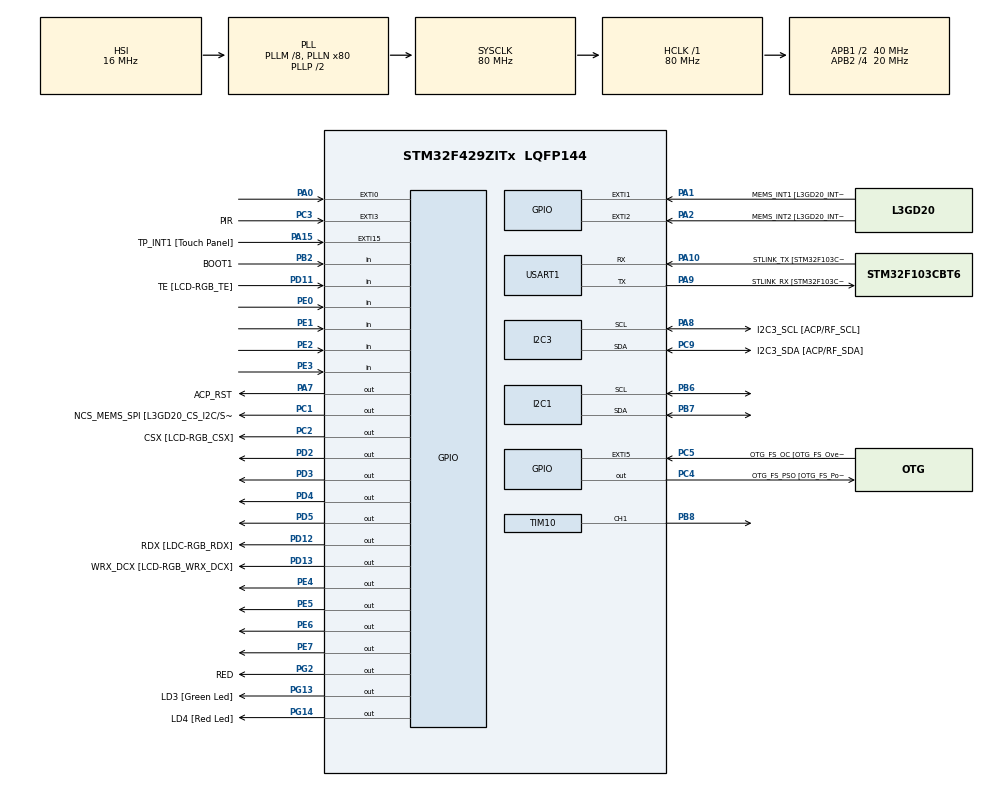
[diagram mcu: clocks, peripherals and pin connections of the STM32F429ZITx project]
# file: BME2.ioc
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Dma.I2C3_RX.0.Direction=DMA_PERIPH_TO_MEMORY
Dma.I2C3_RX.0.FIFOMode=DMA_FIFOMODE_DISABLE
Dma.I2C3_RX.0.Instance=DMA1_Stream2
Dma.I2C3_RX.0.MemDataAlignment=DMA_MDATAALIGN_BYTE
Dma.I2C3_RX.0.MemInc=DMA_MINC_ENABLE
Dma.I2C3_RX.0.Mode=DMA_NORMAL
Dma.I2C3_RX.0.PeriphDataAlignment=DMA_PDATAALIGN_BYTE
Dma.I2C3_RX.0.PeriphInc=DMA_PINC_DISABLE
Dma.I2C3_RX.0.Priority=DMA_PRIORITY_LOW
Dma.I2C3_TX.1.Direction=DMA_MEMORY_TO_PERIPH
Dma.I2C3_TX.1.FIFOMode=DMA_FIFOMODE_DISABLE
Dma.I2C3_TX.1.Instance=DMA1_Stream4
Dma.I2C3_TX.1.MemDataAlignment=DMA_MDATAALIGN_BYTE
Dma.I2C3_TX.1.MemInc=DMA_MINC_ENABLE
Dma.I2C3_TX.1.Mode=DMA_NORMAL
Dma.I2C3_TX.1.PeriphDataAlignment=DMA_PDATAALIGN_BYTE
Dma.I2C3_TX.1.PeriphInc=DMA_PINC_DISABLE
Dma.I2C3_TX.1.Priority=DMA_PRIORITY_LOW
Dma.Request0=I2C3_RX
Dma.Request1=I2C3_TX
Mcu.Family=STM32F4
Mcu.Name=STM32F429ZITx
Mcu.Package=LQFP144
NVIC.DMA1_Stream2_IRQn=true\:0\:0\:false\:false\:true\:false\:true
NVIC.DMA1_Stream4_IRQn=true\:0\:0\:false\:false\:true\:false\:true
NVIC.EXTI0_IRQn=true\:0\:0\:false\:false\:true\:true\:true
NVIC.EXTI3_IRQn=true\:0\:0\:false\:false\:true\:true\:true
NVIC.I2C1_EV_IRQn=true\:0\:0\:false\:false\:true\:true\:true
NVIC.I2C3_EV_IRQn=true\:0\:0\:false\:false\:true\:true\:true
NVIC.PriorityGroup=NVIC_PRIORITYGROUP_0
NVIC.TIM1_TRG_COM_TIM11_IRQn=true\:0\:0\:false\:false\:true\:true\:true
NVIC.TIM1_UP_TIM10_IRQn=true\:0\:0\:false\:false\:true\:true\:true
NVIC.TIM7_IRQn=true\:0\:0\:false\:false\:true\:true\:true
NVIC.USART1_IRQn=true\:0\:0\:false\:false\:true\:true\:true
PA0/WKUP.Signal=GPXTI0
PA1.GPIO_Label=MEMS_INT1 [L3GD20_INT1]
PA1.GPIO_ModeDefaultEXTI=GPIO_MODE_EVT_RISING
PA1.GPIO_PuPd=GPIO_NOPULL
PA1.Signal=GPXTI1
PA10.GPIO_Label=STLINK_TX [STM32F103CBT6_PA2]
PA10.Mode=Asynchronous
PA10.Signal=USART1_RX
PA11.GPIO_Label=R4
PA11.GPIO_Mode=GPIO_MODE_AF_PP
PA11.GPIO_PuPd=GPIO_NOPULL
PA11.GPIO_Speed=GPIO_SPEED_FREQ_LOW
PA11.Signal=LTDC_R4
PA12.GPIO_Label=R5
PA12.GPIO_Mode=GPIO_MODE_AF_PP
PA12.GPIO_PuPd=GPIO_NOPULL
PA12.GPIO_Speed=GPIO_SPEED_FREQ_LOW
PA12.Signal=LTDC_R5
PA13.GPIO_Label=SWDIO
PA13.Signal=SYS_JTMS-SWDIO
PA14.GPIO_Label=SWCLK
PA14.Signal=SYS_JTCK-SWCLK
PA15.GPIO_Label=TP_INT1 [Touch Panel]
PA15.GPIO_ModeDefaultEXTI=GPIO_MODE_EVT_RISING
PA15.GPIO_PuPd=GPIO_NOPULL
PA15.Signal=GPXTI15
PA2.GPIO_Label=MEMS_INT2 [L3GD20_INT2]
PA2.GPIO_ModeDefaultEXTI=GPIO_MODE_EVT_RISING
PA2.GPIO_PuPd=GPIO_NOPULL
PA2.Signal=GPXTI2
PA3.GPIO_Label=B5
PA3.GPIO_Mode=GPIO_MODE_AF_PP
PA3.GPIO_PuPd=GPIO_NOPULL
PA3.GPIO_Speed=GPIO_SPEED_FREQ_LOW
PA3.Signal=LTDC_B5
PA4.GPIO_Label=VSYNC
PA4.GPIO_Mode=GPIO_MODE_AF_PP
PA4.GPIO_PuPd=GPIO_NOPULL
PA4.GPIO_Speed=GPIO_SPEED_FREQ_LOW
PA4.Signal=LTDC_VSYNC
PA6.GPIO_Label=G2
PA6.GPIO_Mode=GPIO_MODE_AF_PP
PA6.GPIO_PuPd=GPIO_NOPULL
PA6.GPIO_Speed=GPIO_SPEED_FREQ_LOW
PA6.Signal=LTDC_G2
PA7.GPIO_Label=ACP_RST
PA7.GPIO_Mode=GPIO_MODE_OUTPUT_PP
PA7.GPIO_PuPd=GPIO_NOPULL
PA7.GPIO_Speed=GPIO_SPEED_FREQ_LOW
PA7.Signal=GPIO_Output
PA8.GPIO_Label=I2C3_SCL [ACP/RF_SCL]
PA8.GPIO_Mode=GPIO_MODE_AF_OD
PA8.GPIO_PuPd=GPIO_NOPULL
PA8.GPIO_PuPdOD=GPIO_NOPULL
PA8.GPIO_Speed=GPIO_SPEED_FREQ_LOW
PA8.Mode=I2C
PA8.Signal=I2C3_SCL
PA9.GPIO_Label=STLINK_RX [STM32F103CBT6_PA3]
PA9.Mode=Asynchronous
PA9.Signal=USART1_TX
PB0.GPIO_Label=R3
PB0.GPIO_Mode=GPIO_MODE_AF_PP
PB0.GPIO_PuPd=GPIO_NOPULL
PB0.GPIO_Speed=GPIO_SPEED_FREQ_LOW
PB0.Signal=LTDC_R3
PB1.GPIO_Label=R6
PB1.GPIO_Mode=GPIO_MODE_AF_PP
PB1.GPIO_PuPd=GPIO_NOPULL
PB1.GPIO_Speed=GPIO_SPEED_FREQ_LOW
PB1.Signal=LTDC_R6
PB10.GPIO_Label=G4
PB10.GPIO_Mode=GPIO_MODE_AF_PP
PB10.GPIO_PuPd=GPIO_NOPULL
PB10.GPIO_Speed=GPIO_SPEED_FREQ_LOW
PB10.Signal=LTDC_G4
PB11.GPIO_Label=G5
PB11.GPIO_Mode=GPIO_MODE_AF_PP
PB11.GPIO_PuPd=GPIO_NOPULL
PB11.GPIO_Speed=GPIO_SPEED_FREQ_LOW
PB11.Signal=LTDC_G5
PB12.GPIO_Label=OTG_HS_ID
PB12.GPIO_Mode=GPIO_MODE_AF_PP
PB12.GPIO_PuPd=GPIO_NOPULL
PB12.GPIO_Speed=GPIO_SPEED_FREQ_LOW
PB12.Signal=USB_OTG_HS_ID
PB13.GPIO_Label=VBUS_HS
PB13.GPIO_Mode=GPIO_MODE_INPUT
PB13.GPIO_PuPd=GPIO_NOPULL
PB13.Signal=USB_OTG_HS_VBUS
PB14.GPIO_Label=OTG_HS_DM
PB14.GPIO_Mode=GPIO_MODE_AF_PP
PB14.GPIO_PuPd=GPIO_NOPULL
PB14.GPIO_Speed=GPIO_SPEED_FREQ_LOW
PB14.Signal=USB_OTG_HS_DM
PB15.GPIO_Label=OTG_HS_DP
PB15.GPIO_Mode=GPIO_MODE_AF_PP
PB15.GPIO_PuPd=GPIO_NOPULL
PB15.GPIO_Speed=GPIO_SPEED_FREQ_LOW
PB15.Signal=USB_OTG_HS_DP
PB2/BOOT1.GPIO_Label=BOOT1
PB2/BOOT1.GPIO_Mode=GPIO_MODE_INPUT
PB2/BOOT1.GPIO_PuPd=GPIO_NOPULL
PB2/BOOT1.Signal=GPIO_Input
PB5.GPIO_Label=SDCKE1
PB5.GPIO_Mode=GPIO_MODE_AF_PP
PB5.GPIO_PuPd=GPIO_NOPULL
PB5.GPIO_Speed=GPIO_SPEED_FREQ_VERY_HIGH
PB5.Signal=FMC_SDCKE1
PB6.GPIO_PuPdOD=GPIO_NOPULL
PB6.Mode=I2C
PB6.Signal=I2C1_SCL
PB7.GPIO_PuPdOD=GPIO_NOPULL
PB7.Mode=I2C
PB7.Signal=I2C1_SDA
PB8.GPIO_Speed=GPIO_SPEED_FREQ_LOW
PB8.Signal=S_TIM10_CH1
PC0.GPIO_Label=SDNWE
PC0.GPIO_Mode=GPIO_MODE_AF_PP
PC0.GPIO_PuPd=GPIO_NOPULL
PC0.GPIO_Speed=GPIO_SPEED_FREQ_VERY_HIGH
PC0.Signal=FMC_SDNWE
PC1.GPIO_Label=NCS_MEMS_SPI [L3GD20_CS_I2C/SPI]
PC1.GPIO_Mode=GPIO_MODE_OUTPUT_PP
PC1.GPIO_PuPd=GPIO_NOPULL
PC1.GPIO_Speed=GPIO_SPEED_FREQ_LOW
PC1.Signal=GPIO_Output
PC10.GPIO_Label=R2
PC10.GPIO_Mode=GPIO_MODE_AF_PP
PC10.GPIO_PuPd=GPIO_NOPULL
PC10.GPIO_Speed=GPIO_SPEED_FREQ_LOW
PC10.Signal=LTDC_R2
PC14/OSC32_IN.GPIO_Label=PC14-OSC32_IN
PC14/OSC32_IN.Signal=RCC_OSC32_IN
PC15/OSC32_OUT.GPIO_Label=PC15-OSC32_OUT
PC15/OSC32_OUT.Signal=RCC_OSC32_OUT
PC2.GPIO_Label=CSX [LCD-RGB_CSX]
PC2.GPIO_Mode=GPIO_MODE_OUTPUT_PP
PC2.GPIO_PuPd=GPIO_NOPULL
PC2.GPIO_Speed=GPIO_SPEED_FREQ_LOW
PC2.Signal=GPIO_Output
PC3.GPIO_Label=PIR
PC3.GPIO_ModeDefaultEXTI=GPIO_MODE_IT_RISING_FALLING
PC3.Signal=GPXTI3
PC4.GPIO_Label=OTG_FS_PSO [OTG_FS_PowerSwitchOn]
PC4.GPIO_Mode=GPIO_MODE_OUTPUT_PP
PC4.GPIO_PuPd=GPIO_NOPULL
PC4.GPIO_Speed=GPIO_SPEED_FREQ_LOW
PC4.Signal=GPIO_Output
PC5.GPIO_Label=OTG_FS_OC [OTG_FS_OverCurrent]
PC5.GPIO_ModeDefaultEXTI=GPIO_MODE_EVT_RISING
PC5.Signal=GPXTI5
PC6.GPIO_Label=HSYNC
PC6.GPIO_Mode=GPIO_MODE_AF_PP
PC6.GPIO_PuPd=GPIO_NOPULL
PC6.GPIO_Speed=GPIO_SPEED_FREQ_LOW
PC6.Signal=LTDC_HSYNC
PC7.GPIO_Label=G6
PC7.GPIO_Mode=GPIO_MODE_AF_PP
PC7.GPIO_PuPd=GPIO_NOPULL
PC7.GPIO_Speed=GPIO_SPEED_FREQ_LOW
PC7.Signal=LTDC_G6
PC9.GPIO_Label=I2C3_SDA [ACP/RF_SDA]
PC9.GPIO_Mode=GPIO_MODE_AF_OD
PC9.GPIO_PuPd=GPIO_NOPULL
PC9.GPIO_PuPdOD=GPIO_NOPULL
PC9.GPIO_Speed=GPIO_SPEED_FREQ_LOW
PC9.Mode=I2C
PC9.Signal=I2C3_SDA
PD0.GPIO_Label=D2
PD0.GPIO_Mode=GPIO_MODE_AF_PP
PD0.GPIO_PuPd=GPIO_NOPULL
PD0.GPIO_Speed=GPIO_SPEED_FREQ_VERY_HIGH
PD0.Signal=FMC_D2_DA2
PD1.GPIO_Label=D3
PD1.GPIO_Mode=GPIO_MODE_AF_PP
PD1.GPIO_PuPd=GPIO_NOPULL
PD1.GPIO_Speed=GPIO_SPEED_FREQ_VERY_HIGH
PD1.Signal=FMC_D3_DA3
PD10.GPIO_Label=D15
PD10.GPIO_Mode=GPIO_MODE_AF_PP
PD10.GPIO_PuPd=GPIO_NOPULL
PD10.GPIO_Speed=GPIO_SPEED_FREQ_VERY_HIGH
PD10.Signal=FMC_D15_DA15
PD11.GPIO_Label=TE [LCD-RGB_TE]
PD11.GPIO_Mode=GPIO_MODE_INPUT
PD11.GPIO_PuPd=GPIO_NOPULL
PD11.Signal=GPIO_Input
PD12.GPIO_Label=RDX [LDC-RGB_RDX]
PD12.GPIO_Mode=GPIO_MODE_OUTPUT_PP
PD12.GPIO_PuPd=GPIO_NOPULL
PD12.GPIO_Speed=GPIO_SPEED_FREQ_LOW
PD12.Signal=GPIO_Output
PD13.GPIO_Label=WRX_DCX [LCD-RGB_WRX_DCX]
PD13.GPIO_Mode=GPIO_MODE_OUTPUT_PP
PD13.GPIO_PuPd=GPIO_NOPULL
PD13.GPIO_Speed=GPIO_SPEED_FREQ_LOW
PD13.Signal=GPIO_Output
PD14.GPIO_Label=D0
PD14.GPIO_Mode=GPIO_MODE_AF_PP
PD14.GPIO_PuPd=GPIO_NOPULL
PD14.GPIO_Speed=GPIO_SPEED_FREQ_VERY_HIGH
PD14.Signal=FMC_D0_DA0
PD15.GPIO_Label=D1
PD15.GPIO_Mode=GPIO_MODE_AF_PP
PD15.GPIO_PuPd=GPIO_NOPULL
PD15.GPIO_Speed=GPIO_SPEED_FREQ_VERY_HIGH
PD15.Signal=FMC_D1_DA1
PD2.Signal=GPIO_Output
PD3.Signal=GPIO_Output
PD4.Signal=GPIO_Output
PD5.Signal=GPIO_Output
PD6.Signal=USART2_RX
PD8.GPIO_Label=D13
PD8.GPIO_Mode=GPIO_MODE_AF_PP
PD8.GPIO_PuPd=GPIO_NOPULL
PD8.GPIO_Speed=GPIO_SPEED_FREQ_VERY_HIGH
PD8.Signal=FMC_D13_DA13
PD9.GPIO_Label=D14
PD9.GPIO_Mode=GPIO_MODE_AF_PP
PD9.GPIO_PuPd=GPIO_NOPULL
PD9.GPIO_Speed=GPIO_SPEED_FREQ_VERY_HIGH
PD9.Signal=FMC_D14_DA14
PE0.Signal=GPIO_Input
PE1.Signal=GPIO_Input
PE10.GPIO_Label=D7
PE10.GPIO_Mode=GPIO_MODE_AF_PP
PE10.GPIO_PuPd=GPIO_NOPULL
PE10.GPIO_Speed=GPIO_SPEED_FREQ_VERY_HIGH
PE10.Signal=FMC_D7_DA7
PE11.GPIO_Label=D8
PE11.GPIO_Mode=GPIO_MODE_AF_PP
PE11.GPIO_PuPd=GPIO_NOPULL
PE11.GPIO_Speed=GPIO_SPEED_FREQ_VERY_HIGH
PE11.Signal=FMC_D8_DA8
PE12.GPIO_Label=D9
PE12.GPIO_Mode=GPIO_MODE_AF_PP
PE12.GPIO_PuPd=GPIO_NOPULL
PE12.GPIO_Speed=GPIO_SPEED_FREQ_VERY_HIGH
PE12.Signal=FMC_D9_DA9
PE13.GPIO_Label=D10
PE13.GPIO_Mode=GPIO_MODE_AF_PP
PE13.GPIO_PuPd=GPIO_NOPULL
PE13.GPIO_Speed=GPIO_SPEED_FREQ_VERY_HIGH
PE13.Signal=FMC_D10_DA10
PE14.GPIO_Label=D11
PE14.GPIO_Mode=GPIO_MODE_AF_PP
PE14.GPIO_PuPd=GPIO_NOPULL
PE14.GPIO_Speed=GPIO_SPEED_FREQ_VERY_HIGH
PE14.Signal=FMC_D11_DA11
PE15.GPIO_Label=D12
PE15.GPIO_Mode=GPIO_MODE_AF_PP
PE15.GPIO_PuPd=GPIO_NOPULL
PE15.GPIO_Speed=GPIO_SPEED_FREQ_VERY_HIGH
PE15.Signal=FMC_D12_DA12
PE2.Signal=GPIO_Input
PE3.Signal=GPIO_Input
PE4.Signal=GPIO_Output
PE5.Signal=GPIO_Output
PE6.Signal=GPIO_Output
PE7.Signal=GPIO_Output
PE9.GPIO_Label=D6
PE9.GPIO_Mode=GPIO_MODE_AF_PP
PE9.GPIO_PuPd=GPIO_NOPULL
PE9.GPIO_Speed=GPIO_SPEED_FREQ_VERY_HIGH
PE9.Signal=FMC_D6_DA6
PF0.GPIO_Label=A0
PF0.GPIO_Mode=GPIO_MODE_AF_PP
PF0.GPIO_PuPd=GPIO_NOPULL
PF0.GPIO_Speed=GPIO_SPEED_FREQ_VERY_HIGH
PF0.Signal=FMC_A0
PF1.GPIO_Label=A1
PF1.GPIO_Mode=GPIO_MODE_AF_PP
PF1.GPIO_PuPd=GPIO_NOPULL
PF1.GPIO_Speed=GPIO_SPEED_FREQ_VERY_HIGH
PF1.Signal=FMC_A1
PF10.GPIO_Label=ENABLE [LCD-RGB_ENABLE]
PF10.GPIO_Mode=GPIO_MODE_AF_PP
PF10.GPIO_PuPd=GPIO_NOPULL
PF10.GPIO_Speed=GPIO_SPEED_FREQ_LOW
PF10.Signal=LTDC_DE
PF11.GPIO_Label=SDNRAS
PF11.GPIO_Mode=GPIO_MODE_AF_PP
PF11.GPIO_PuPd=GPIO_NOPULL
PF11.GPIO_Speed=GPIO_SPEED_FREQ_VERY_HIGH
PF11.Signal=FMC_SDNRAS
PF12.GPIO_Label=A6
PF12.GPIO_Mode=GPIO_MODE_AF_PP
PF12.GPIO_PuPd=GPIO_NOPULL
PF12.GPIO_Speed=GPIO_SPEED_FREQ_VERY_HIGH
PF12.Signal=FMC_A6
PF13.GPIO_Label=A7
PF13.GPIO_Mode=GPIO_MODE_AF_PP
PF13.GPIO_PuPd=GPIO_NOPULL
PF13.GPIO_Speed=GPIO_SPEED_FREQ_VERY_HIGH
PF13.Signal=FMC_A7
PF14.GPIO_Label=A8
PF14.GPIO_Mode=GPIO_MODE_AF_PP
PF14.GPIO_PuPd=GPIO_NOPULL
PF14.GPIO_Speed=GPIO_SPEED_FREQ_VERY_HIGH
PF14.Signal=FMC_A8
PF15.GPIO_Label=A9
PF15.GPIO_Mode=GPIO_MODE_AF_PP
PF15.GPIO_PuPd=GPIO_NOPULL
PF15.GPIO_Speed=GPIO_SPEED_FREQ_VERY_HIGH
PF15.Signal=FMC_A9
PF2.GPIO_Label=A2
PF2.GPIO_Mode=GPIO_MODE_AF_PP
PF2.GPIO_PuPd=GPIO_NOPULL
PF2.GPIO_Speed=GPIO_SPEED_FREQ_VERY_HIGH
PF2.Signal=FMC_A2
PF3.GPIO_Label=A3
PF3.GPIO_Mode=GPIO_MODE_AF_PP
PF3.GPIO_PuPd=GPIO_NOPULL
PF3.GPIO_Speed=GPIO_SPEED_FREQ_VERY_HIGH
PF3.Signal=FMC_A3
PF4.GPIO_Label=A4
PF4.GPIO_Mode=GPIO_MODE_AF_PP
PF4.GPIO_PuPd=GPIO_NOPULL
PF4.GPIO_Speed=GPIO_SPEED_FREQ_VERY_HIGH
PF4.Signal=FMC_A4
PF5.GPIO_Label=A5
PF5.GPIO_Mode=GPIO_MODE_AF_PP
PF5.GPIO_PuPd=GPIO_NOPULL
PF5.GPIO_Speed=GPIO_SPEED_FREQ_VERY_HIGH
PF5.Signal=FMC_A5
PF7.GPIO_Label=SPI5_SCK [L3GD20_SCL/SPC]
PF7.GPIO_Mode=GPIO_MODE_AF_PP
PF7.GPIO_PuPd=GPIO_NOPULL
PF7.GPIO_Speed=GPIO_SPEED_FREQ_LOW
PF7.Signal=SPI5_SCK
PF8.GPIO_Label=SPI5_MISO [L3GD20_SDO]
PF8.GPIO_Mode=GPIO_MODE_AF_PP
PF8.GPIO_PuPd=GPIO_NOPULL
PF8.GPIO_Speed=GPIO_SPEED_FREQ_LOW
PF8.Signal=SPI5_MISO
PF9.GPIO_Label=SPI5_MOSI [L3GD20_SDA/SDI/SDO]
PF9.GPIO_Mode=GPIO_MODE_AF_PP
PF9.GPIO_PuPd=GPIO_NOPULL
PF9.GPIO_Speed=GPIO_SPEED_FREQ_LOW
PF9.Signal=SPI5_MOSI
PG0.GPIO_Label=A10
PG0.GPIO_Mode=GPIO_MODE_AF_PP
PG0.GPIO_PuPd=GPIO_NOPULL
PG0.GPIO_Speed=GPIO_SPEED_FREQ_VERY_HIGH
PG0.Signal=FMC_A10
PG1.GPIO_Label=A11
PG1.GPIO_Mode=GPIO_MODE_AF_PP
PG1.GPIO_PuPd=GPIO_NOPULL
PG1.GPIO_Speed=GPIO_SPEED_FREQ_VERY_HIGH
PG1.Signal=FMC_A11
PG10.GPIO_Label=G3
PG10.GPIO_Mode=GPIO_MODE_AF_PP
PG10.GPIO_PuPd=GPIO_NOPULL
PG10.GPIO_Speed=GPIO_SPEED_FREQ_LOW
PG10.Signal=LTDC_G3
PG11.GPIO_Label=B3
PG11.GPIO_Mode=GPIO_MODE_AF_PP
PG11.GPIO_PuPd=GPIO_NOPULL
PG11.GPIO_Speed=GPIO_SPEED_FREQ_LOW
PG11.Signal=LTDC_B3
PG12.GPIO_Label=B4
PG12.GPIO_Mode=GPIO_MODE_AF_PP
PG12.GPIO_PuPd=GPIO_NOPULL
PG12.GPIO_Speed=GPIO_SPEED_FREQ_LOW
PG12.Signal=LTDC_B4
PG13.GPIO_Label=LD3 [Green Led]
PG13.GPIO_Mode=GPIO_MODE_OUTPUT_PP
PG13.GPIO_PuPd=GPIO_NOPULL
PG13.GPIO_Speed=GPIO_SPEED_FREQ_LOW
PG13.Signal=GPIO_Output
PG14.GPIO_Label=LD4 [Red Led]
PG14.GPIO_Mode=GPIO_MODE_OUTPUT_PP
PG14.GPIO_PuPd=GPIO_NOPULL
PG14.GPIO_Speed=GPIO_SPEED_FREQ_LOW
PG14.Signal=GPIO_Output
PG15.GPIO_Label=SDNCAS
PG15.GPIO_Mode=GPIO_MODE_AF_PP
PG15.GPIO_PuPd=GPIO_NOPULL
PG15.GPIO_Speed=GPIO_SPEED_FREQ_VERY_HIGH
PG15.Signal=FMC_SDNCAS
PG2.GPIO_Label=RED
PG2.Signal=GPIO_Output
PG4.GPIO_Label=BA0
PG4.GPIO_Mode=GPIO_MODE_AF_PP
PG4.GPIO_PuPd=GPIO_NOPULL
PG4.GPIO_Speed=GPIO_SPEED_FREQ_VERY_HIGH
PG4.Signal=FMC_A14_BA0
PG5.GPIO_Label=BA1
PG5.GPIO_Mode=GPIO_MODE_AF_PP
PG5.GPIO_PuPd=GPIO_NOPULL
PG5.GPIO_Speed=GPIO_SPEED_FREQ_VERY_HIGH
PG5.Signal=FMC_A15_BA1
PG6.GPIO_Label=R7
PG6.GPIO_Mode=GPIO_MODE_AF_PP
PG6.GPIO_PuPd=GPIO_NOPULL
PG6.GPIO_Speed=GPIO_SPEED_FREQ_LOW
PG6.Signal=LTDC_R7
PG7.GPIO_Label=DOTCLK [LCT-RGB_DOTCLK]
PG7.GPIO_Mode=GPIO_MODE_AF_PP
PG7.GPIO_PuPd=GPIO_NOPULL
PG7.GPIO_Speed=GPIO_SPEED_FREQ_LOW
PG7.Signal=LTDC_CLK
PG8.GPIO_Label=SDCLK
PG8.GPIO_Mode=GPIO_MODE_AF_PP
PG8.GPIO_PuPd=GPIO_NOPULL
PG8.GPIO_Speed=GPIO_SPEED_FREQ_VERY_HIGH
PG8.Signal=FMC_SDCLK
PH0/OSC_IN.GPIO_Label=PH0-OSC_IN
PH0/OSC_IN.Signal=RCC_OSC_IN
PH1/OSC_OUT.GPIO_Label=PH1-OSC_OUT
PH1/OSC_OUT.Signal=RCC_OSC_OUT
ProjectManager.HeapSize=0x200
ProjectManager.StackSize=0x400
ProjectManager.TargetToolchain=STM32CubeIDE
RCC.48MHZClocksFreq_Value=22857142.85714286
RCC.AHBFreq_Value=80000000
RCC.APB1CLKDivider=RCC_HCLK_DIV2
RCC.APB1Freq_Value=40000000
RCC.APB1TimFreq_Value=80000000
RCC.APB2CLKDivider=RCC_HCLK_DIV4
RCC.APB2Freq_Value=20000000
RCC.APB2TimFreq_Value=40000000
RCC.CortexFreq_Value=80000000
RCC.HCLKFreq_Value=80000000
RCC.HSE_VALUE=8000000
RCC.HSI_VALUE=16000000
RCC.LSE_VALUE=32768
RCC.PLLM=8
RCC.PLLN=80
RCC.PLLQ=7
RCC.SYSCLKFreq_VALUE=80000000
RCC.SYSCLKSource=RCC_SYSCLKSOURCE_PLLCLK
RCC.VCOOutputFreq_Value=160000000
SH.FMC_A0.0=FMC_A0
SH.FMC_A1.0=FMC_A1
SH.FMC_A10.0=FMC_A10
SH.FMC_A11.0=FMC_A11
SH.FMC_A14_BA0.0=FMC_BA0
SH.FMC_A15_BA1.0=FMC_BA1
SH.FMC_A2.0=FMC_A2
SH.FMC_A3.0=FMC_A3
SH.FMC_A4.0=FMC_A4
SH.FMC_A5.0=FMC_A5
SH.FMC_A6.0=FMC_A6
SH.FMC_A7.0=FMC_A7
SH.FMC_A8.0=FMC_A8
SH.FMC_A9.0=FMC_A9
SH.FMC_D0_DA0.0=FMC_D0
SH.FMC_D10_DA10.0=FMC_D10
SH.FMC_D11_DA11.0=FMC_D11
SH.FMC_D12_DA12.0=FMC_D12
SH.FMC_D13_DA13.0=FMC_D13
SH.FMC_D14_DA14.0=FMC_D14
SH.FMC_D15_DA15.0=FMC_D15
SH.FMC_D1_DA1.0=FMC_D1
SH.FMC_D2_DA2.0=FMC_D2
SH.FMC_D3_DA3.0=FMC_D3
SH.FMC_D6_DA6.0=FMC_D6
SH.FMC_D7_DA7.0=FMC_D7
SH.FMC_D8_DA8.0=FMC_D8
SH.FMC_D9_DA9.0=FMC_D9
SH.FMC_SDCLK.0=FMC_SDCLK
SH.FMC_SDNCAS.0=FMC_SDNCAS
SH.FMC_SDNRAS.0=FMC_SDNRAS
SH.FMC_SDNWE.0=FMC_SDNWE
SH.S_TIM10_CH1.0=TIM10_CH1,PWM Generation1 CH1
TIM10.AutoReloadPreload=TIM_AUTORELOAD_PRELOAD_ENABLE
TIM10.Channel=TIM_CHANNEL_1
TIM10.Period=999
TIM10.Prescaler=71
TIM11.Period=9999
TIM11.Prescaler=3
TIM7.Period=65500
TIM7.Prescaler=65000
USART1.VirtualMode=VM_ASYNC
VP_TIM10_VS_ClockSourceINT.Mode=Enable_Timer
VP_TIM11_VS_ClockSourceINT.Mode=Enable_Timer
VP_TIM7_VS_ClockSourceINT.Mode=Enable_Timer
board=STM32F429I-DISC1

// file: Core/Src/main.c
/* USER CODE BEGIN Header */
/**
 ******************************************************************************
 * @file           : main.c
 * @brief          : Main program body
 ******************************************************************************
 * @attention
 *
 * <h2><center>&copy; Copyright (c) 2021 STMicroelectronics.
 * All rights reserved.</center></h2>
 *
 * This software component is licensed by ST under BSD 3-Clause license,
 * the "License"; You may not use this file except in compliance with the
 * License. You may obtain a copy of the License at:
 *                        opensource.org/licenses/BSD-3-Clause
 *
 *PINOUT: BME280
 *		  SCL PA8
 *		  SDA PA9
 *
 *
 ******************************************************************************
 */
/* USER CODE END Header */
#include "main.h"
#include "dma.h"
#include "i2c.h"
#include "tim.h"
#include "usart.h"
#include "gpio.h"

/* USER CODE BEGIN Includes */
#include "stm_bme_280.h"
#include "KEYPAD.h"
#include "KEYPAD_cfg.h"
#include <stdio.h>
#include <string.h>
#include <stdlib.h>
#include "STEPPER.h"
//#include "lcd.h"
/* USER CODE END Includes */

/* USER CODE BEGIN PD */
#define STEPPER_MOTOR1   0
/* USER CODE END PD */

/* USER CODE BEGIN PV */
uint16_t dl_kom;
uint8_t received[2];
uint8_t komunikat[50];
uint16_t correct[4] = {1, 1, 1, 1};
uint8_t znak[1];
uint16_t pin[4];
uint8_t pin_counter = 0;
uint16_t message[6];
int ALLOW_FLAG = 0;
BME280_ReadedData_t BME280_Data;
uint16_t actual_state = 0;
uint16_t new_state = 0;
uint16_t rotation = 0;
uint8_t Stepper_Dir = DIR_CW;

/* USER CODE END PV */

void SystemClock_Config(void);
/* USER CODE BEGIN PFP */
void SysTick_CallBack(void);
void HAL_UART_RxCpltCallback(UART_HandleTypeDef *huart);
int checkPin(int a[], int n);
void calculateStep(int a, int b);
/* USER CODE END PFP */

/* USER CODE BEGIN 0 */
uint8_t gu8_KeyStatesArr[KEYS] = { 0 };
uint8_t SysTicks = 0;
/* USER CODE END 0 */

int main(void)
{

  /* MCU Configuration--------------------------------------------------------*/

  /* Reset of all peripherals, Initializes the Flash interface and the Systick. */
  HAL_Init();

  /* Configure the system clock */
  SystemClock_Config();

  /* Initialize all configured peripherals */
  MX_GPIO_Init();
  MX_DMA_Init();
  MX_I2C3_Init();
  MX_TIM7_Init();
  MX_USART1_UART_Init();
  MX_TIM10_Init();
  MX_I2C1_Init();
  MX_TIM11_Init();
  /* USER CODE BEGIN 2 */
	BME280_Initial(BME280_STANDBY_MS_1000, BME280_FILTER_OFF,
			BME280_TEMP_OVERSAMPLING_X1, BME280_PRES_OVERSAMPLING_X1,
			BME280_HUM_OVERSAMPLING_X1, BME280_MODE_NORMAL);
	HAL_TIM_Base_Start_IT(&htim7);
	HAL_UART_Receive_IT(&huart1, &received, 2);
	HAL_TIM_PWM_Start(&htim10, TIM_CHANNEL_1);
	KEYPAD_Init(0, gu8_KeyStatesArr);
	STEPPERS_Init_TMR(&htim11);
	STEPPER_SetSpeed(STEPPER_MOTOR1, 28);
  /* USER CODE END 2 */

  /* Infinite loop */
  /* USER CODE BEGIN WHILE */
	//sprawdzam czy jest wpisany poprawny PIN
	while (1) {
		if (checkPin(correct, 4) == 1) {
			HAL_GPIO_WritePin(GPIOG, LD3_Pin, GPIO_PIN_SET);
			HAL_GPIO_WritePin(GPIOG, LD4_Pin, GPIO_PIN_RESET);
			HAL_GPIO_WritePin(GPIOG, RED_Pin, GPIO_PIN_RESET);
			ALLOW_FLAG = 1;
		} else if (checkPin(correct, 4) == 0) {
			HAL_GPIO_WritePin(GPIOG, LD3_Pin, GPIO_PIN_RESET);
			HAL_GPIO_WritePin(GPIOG, LD4_Pin, GPIO_PIN_SET);
			ALLOW_FLAG = 0;
		}
    /* USER CODE END WHILE */

	}
}

void SystemClock_Config(void)
{
  RCC_OscInitTypeDef RCC_OscInitStruct = {0};
  RCC_ClkInitTypeDef RCC_ClkInitStruct = {0};

  /** Configure the main internal regulator output voltage
  */
  __HAL_RCC_PWR_CLK_ENABLE();
  __HAL_PWR_VOLTAGESCALING_CONFIG(PWR_REGULATOR_VOLTAGE_SCALE3);
  /** Initializes the RCC Oscillators according to the specified parameters
  * in the RCC_OscInitTypeDef structure.
  */
  RCC_OscInitStruct.OscillatorType = RCC_OSCILLATORTYPE_HSI;
  RCC_OscInitStruct.HSIState = RCC_HSI_ON;
  RCC_OscInitStruct.HSICalibrationValue = RCC_HSICALIBRATION_DEFAULT;
  RCC_OscInitStruct.PLL.PLLState = RCC_PLL_ON;
  RCC_OscInitStruct.PLL.PLLSource = RCC_PLLSOURCE_HSI;
  RCC_OscInitStruct.PLL.PLLM = 8;
  RCC_OscInitStruct.PLL.PLLN = 80;
  RCC_OscInitStruct.PLL.PLLP = RCC_PLLP_DIV2;
  RCC_OscInitStruct.PLL.PLLQ = 7;
  if (HAL_RCC_OscConfig(&RCC_OscInitStruct) != HAL_OK)
  {
    Error_Handler();
  }
  /** Initializes the CPU, AHB and APB buses clocks
  */
  RCC_ClkInitStruct.ClockType = RCC_CLOCKTYPE_HCLK|RCC_CLOCKTYPE_SYSCLK
                              |RCC_CLOCKTYPE_PCLK1|RCC_CLOCKTYPE_PCLK2;
  RCC_ClkInitStruct.SYSCLKSource = RCC_SYSCLKSOURCE_PLLCLK;
  RCC_ClkInitStruct.AHBCLKDivider = RCC_SYSCLK_DIV1;
  RCC_ClkInitStruct.APB1CLKDivider = RCC_HCLK_DIV2;
  RCC_ClkInitStruct.APB2CLKDivider = RCC_HCLK_DIV4;

  if (HAL_RCC_ClockConfig(&RCC_ClkInitStruct, FLASH_LATENCY_2) != HAL_OK)
  {
    Error_Handler();
  }
}

/* USER CODE BEGIN 4 */
void SysTick_CallBack(void) {
	SysTicks++;
	if (SysTicks == 10) // Each 5msec
			{
		KEYPAD_Scan(0);
		SysTicks = 0;
	}
}

void SysTick_Handler(void) {
	HAL_IncTick();
	SysTick_CallBack();
}

int checkPin(int a[], int n) {
	if (pin_counter < n) {

		if (gu8_KeyStatesArr[KEY_1] == KEY_PRESSED) {
			//			HAL_GPIO_TogglePin(GPIOG, LD3_Pin);
			HAL_Delay(200);
			sprintf(znak, "1");
			//		HAL_UART_Transmit(&huart1, znak, 3, 100);
			HAL_UART_Transmit_IT(&huart1, &znak, 1);
			pin[pin_counter] = 1;
			pin_counter++;
		} else if (gu8_KeyStatesArr[KEY_2] == KEY_PRESSED) {
			//			HAL_GPIO_TogglePin(GPIOG, LD4_Pin);
			sprintf(znak, "2");
			HAL_UART_Transmit_IT(&huart1, &znak, 1);
			pin[pin_counter] = 2;

			HAL_Delay(200);
			pin_counter++;
		} else if (gu8_KeyStatesArr[KEY_3] == KEY_PRESSED) {
			sprintf(znak, "3");
			HAL_UART_Transmit_IT(&huart1, &znak, 1);
			pin[pin_counter] = 3;
			HAL_Delay(200);
			pin_counter++;
		} else if (gu8_KeyStatesArr[KEY_4] == KEY_PRESSED) {
			sprintf(znak, "4");
			HAL_UART_Transmit_IT(&huart1, &znak, 1);
			HAL_Delay(200);
			pin_counter++;
		} else if (gu8_KeyStatesArr[KEY_5] == KEY_PRESSED) {
			sprintf(znak, "5");
			HAL_UART_Transmit_IT(&huart1, &znak, 1);
			HAL_Delay(200);
			pin_counter++;
		} else if (gu8_KeyStatesArr[KEY_6] == KEY_PRESSED) {
			sprintf(znak, "6");
			HAL_UART_Transmit_IT(&huart1, &znak, 1);
			HAL_Delay(200);
			pin_counter++;
		} else if (gu8_KeyStatesArr[KEY_7] == KEY_PRESSED) {
			sprintf(znak, "7");
			HAL_UART_Transmit_IT(&huart1, &znak, 1);
			HAL_Delay(200);
			pin_counter++;
		} else if (gu8_KeyStatesArr[KEY_8] == KEY_PRESSED) {
			sprintf(znak, "8");
			HAL_UART_Transmit_IT(&huart1, &znak, 1);
			HAL_Delay(200);
			pin_counter++;
		} else if (gu8_KeyStatesArr[KEY_9] == KEY_PRESSED) {
			sprintf(znak, "9");
			HAL_UART_Transmit_IT(&huart1, &znak, 1);
			HAL_Delay(200);
			pin_counter++;
		}
	}

	else {

		if (memcmp(pin, a, sizeof(pin)) == 0) {
//				pin_counter= 0;
			return 1;
		}
//			sprintf(message, "%d%d%d%d\r\n", pin[0], pin[1], pin[2], pin[3]);
		else {
			dl_kom = sprintf(komunikat, "Wrong PIN\r\n");
			HAL_UART_Transmit_IT(&huart1, &komunikat, dl_kom);
		}

		pin_counter = 0;
		HAL_GPIO_TogglePin(GPIOG, LD4_Pin);
		memset(pin, 0, sizeof pin);
		return 0;
	}
}

void HAL_TIM_PeriodElapsedCallback(TIM_HandleTypeDef *htim) {
	if (ALLOW_FLAG == 1) {
		if (htim->Instance == TIM7) {

			BME280_Data.temp = BME280_ReadTemperature();
			BME280_Data.pres = BME280_ReadPressure();
			BME280_Data.humi = BME280_ReadHumidity();
			BME280_Data.alti = BME280_ReadAltitude(kSEA_LEVEL_PRESURE_PA);

			dl_kom = sprintf(komunikat,
					"T: %0.2f, P: %0.2f, H: %0.2f, A: %0.2f\r\n",
					BME280_Data.temp, BME280_Data.pres, BME280_Data.humi,
					BME280_Data.alti);
//		printf("T: %0.2f, P: %0.2f, H: %0.2f, A: %0.2f \r\n", BME280_Data.temp, BME280_Data.pres, BME280_Data.humi, BME280_Data.alti);
			HAL_UART_Transmit_IT(&huart1, komunikat, dl_kom);
		}

		if(htim->Instance == TIM11){
			STEPPER_TMR_OVF_ISR(&htim11);
		}
	}
}

void calculateStep(int actual, int new){
	rotation = abs(actual-new);
	if( actual < new ){
		Stepper_Dir = DIR_CW;
//		STEPPER_Step_NonBlocking(STEPPER_MOTOR1, rotation, Stepper_Dir);
	}
	else{
		Stepper_Dir = DIR_CCW;

	}
	STEPPER_Step_NonBlocking(STEPPER_MOTOR1, rotation, Stepper_Dir);
}

void HAL_UART_RxCpltCallback(UART_HandleTypeDef *huart) {
	if (huart->Instance == USART1) {
		if (ALLOW_FLAG == 1) {
			if (strchr(received, 'r') != NULL) {
				HAL_GPIO_WritePin(GPIOG, LD4_Pin, GPIO_PIN_SET);
				dl_kom = sprintf(komunikat, "RED LIGHT");
			} else if (strchr(received, 'g') != NULL) {
				HAL_GPIO_WritePin(GPIOG, LD3_Pin, GPIO_PIN_SET);
				dl_kom = sprintf(komunikat, "GREEN LIGHT");
			} else if (strchr(received, 'e') != NULL) {
				HAL_GPIO_WritePin(GPIOG, LD4_Pin, GPIO_PIN_RESET);
				dl_kom = sprintf(komunikat, "GREEN LIGHT");
			} else if (strchr(received, 'f') != NULL) {
				HAL_GPIO_WritePin(GPIOG, LD3_Pin, GPIO_PIN_RESET);
				dl_kom = sprintf(komunikat, "GREEN LIGHT");
			}
			  else if(strchr(received, 'u') != NULL)
			{
				switch(received[1]){
				case 48:
					new_state = 0;
					calculateStep(actual_state, new_state);
					actual_state = new_state;
					break;
				case 49:
					new_state = 1000;
					calculateStep(actual_state, new_state);
					actual_state = new_state;
					break;
				case 50:
					new_state = 2000;
					calculateStep(actual_state, new_state);
					actual_state = new_state;
					break;
				case 51:
					new_state = 3000;
					calculateStep(actual_state, new_state);
					actual_state = new_state;
					break;
				case 52:
					new_state = 4000;
					calculateStep(actual_state, new_state);
					actual_state = new_state;
					break;
				}

			}
			  else if (strchr(received, 'd') != NULL) {
			  switch (received[1]) {
				case 48:
					__HAL_TIM_SET_COMPARE(&htim10, TIM_CHANNEL_1, 0);
					break;
				case 49:
					__HAL_TIM_SET_COMPARE(&htim10, TIM_CHANNEL_1, 50);
					break;
				case 50:
					__HAL_TIM_SET_COMPARE(&htim10, TIM_CHANNEL_1, 100);
					break;
				case 51:
					__HAL_TIM_SET_COMPARE(&htim10, TIM_CHANNEL_1, 150);
					break;
				case 52:
					__HAL_TIM_SET_COMPARE(&htim10, TIM_CHANNEL_1, 200);
					break;
				}

				HAL_GPIO_TogglePin(GPIOG, LD3_Pin);
				dl_kom = sprintf("%d", &received[1]);
			}
		} else {
			__HAL_TIM_SET_COMPARE(&htim10, TIM_CHANNEL_1, 0);
		}
		HAL_UART_Receive_IT(&huart1, &received, 2);
//		HAL_UART_Transmit_IT(&huart1, &komunikat, dl_kom);

	}
}

void HAL_GPIO_EXTI_Callback(uint16_t GPIO_Pin) {
	if (GPIO_Pin == GPIO_PIN_0) {
		HAL_GPIO_TogglePin(GPIOG, LD3_Pin);
		__HAL_TIM_SET_COMPARE(&htim10, TIM_CHANNEL_1, 0);
		memset(pin, 0, sizeof pin);
		ALLOW_FLAG = 0;

	}
	if (GPIO_Pin == PIR_Pin){
		if(ALLOW_FLAG == 0){
			HAL_GPIO_TogglePin(GPIOG, RED_Pin);
		}

	}
}

/* USER CODE END 4 */

void Error_Handler(void)
{
	__disable_irq();
	while (1) {
	}
}

/************************ (C) COPYRIGHT STMicroelectronics *****END OF FILE****/
